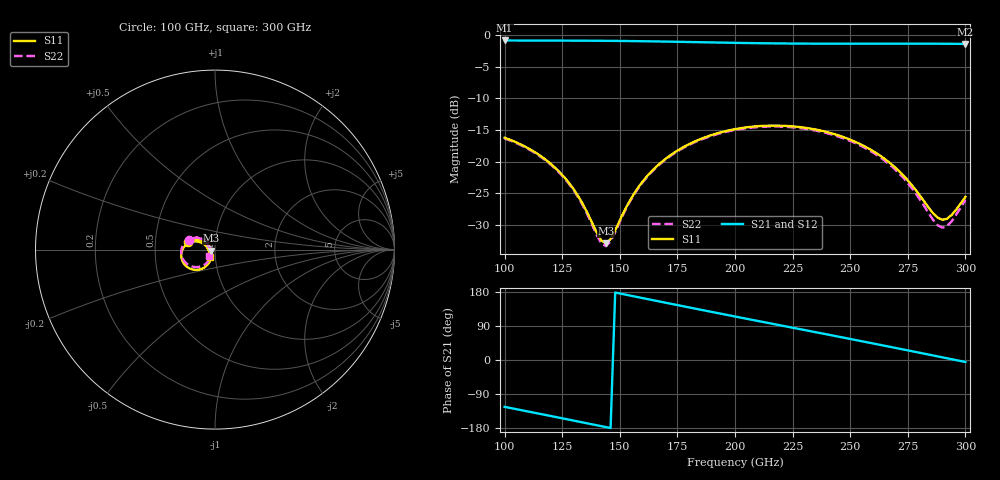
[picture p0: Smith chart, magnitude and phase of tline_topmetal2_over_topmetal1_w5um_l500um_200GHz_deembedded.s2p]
! Created with skrf 2.0.1 (http://scikit-rf.org).
# GHz S DB R 50.0
!freq dBS11 angS11 dBS21 angS21 dBS12 angS12 dBS22 angS22
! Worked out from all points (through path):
!   101 points, 100 GHz to 300 GHz, reference 50 ohm
!   highest |S21| = -0.88 dB at 100 GHz (marker M1); lowest = -1.4 dB at 300 GHz (marker M2)
!   group delay of S21, straight-line fit = 3.35 ps
!   lowest |S11| = -32.9 dB at 144 GHz (marker M3), VSWR 1.05, Z = 47.9 - j0.608 ohm
!   |S11| at or under -10 dB: start of sweep to end of sweep
!   |S22| runs from -33.3 to -14.5 dB; largest |S21 - S12| = 9.9e-14
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100  -16.23 163.5  -0.88 -123.7  -0.88 -123.7  -16.34 158.9
110  -17.83 153.6  -0.90 -135.7  -0.90 -135.7  -17.95 148.6
120  -20.32 145.4  -0.90 -147.8  -0.90 -147.8  -20.46 139.8
128  -23.37 142.0  -0.91 -157.5  -0.91 -157.5  -23.53 135.9
134  -26.71 144.9  -0.92 -164.8  -0.92 -164.8  -26.94 138.3
142  -32.45 178.2  -0.94 -174.6  -0.94 -174.6  -32.90 172.0
144  -32.87 -163.8  -0.94 -177.1  -0.94 -177.1  -33.32 -169.2
146  -32.20 -146.3  -0.95 -179.6  -0.95 -179.6  -32.58 -151.2
152  -27.74 -119.2  -0.97 173.1  -0.97 173.1  -27.92 -124.5
158  -24.06 -113.8  -0.99 165.7  -0.99 165.7  -24.19 -119.7
168  -20.09 -117.3  -1.05 153.4  -1.05 153.4  -20.21 -123.9
182  -16.90 -128.8  -1.14 136.4  -1.14 136.4  -17.02 -136.3
200  -14.87 -146.4  -1.26 114.8  -1.26 114.8  -15.00 -154.8
216  -14.31 -162.5  -1.34 95.8  -1.34 95.8  -14.46 -171.7
234  -14.86 179.9  -1.39 74.6  -1.39 74.6  -15.03 169.6
252  -16.83 163.8  -1.39 53.1  -1.39 53.1  -17.03 152.3
268  -20.43 153.9  -1.39 33.9  -1.39 33.9  -20.74 141.0
276  -23.36 154.5  -1.39 24.2  -1.39 24.2  -23.81 140.6
286  -28.14 175.3  -1.39 11.9  -1.39 11.9  -29.18 161.4
290  -29.16 -164.2  -1.40 7.1  -1.40 7.1  -30.40 -175.4
294  -28.42 -142.8  -1.41 2.2  -1.41 2.2  -29.41 -151.3
300  -25.55 -124.1  -1.43 -5.2  -1.43 -5.2  -26.08 -132.5
